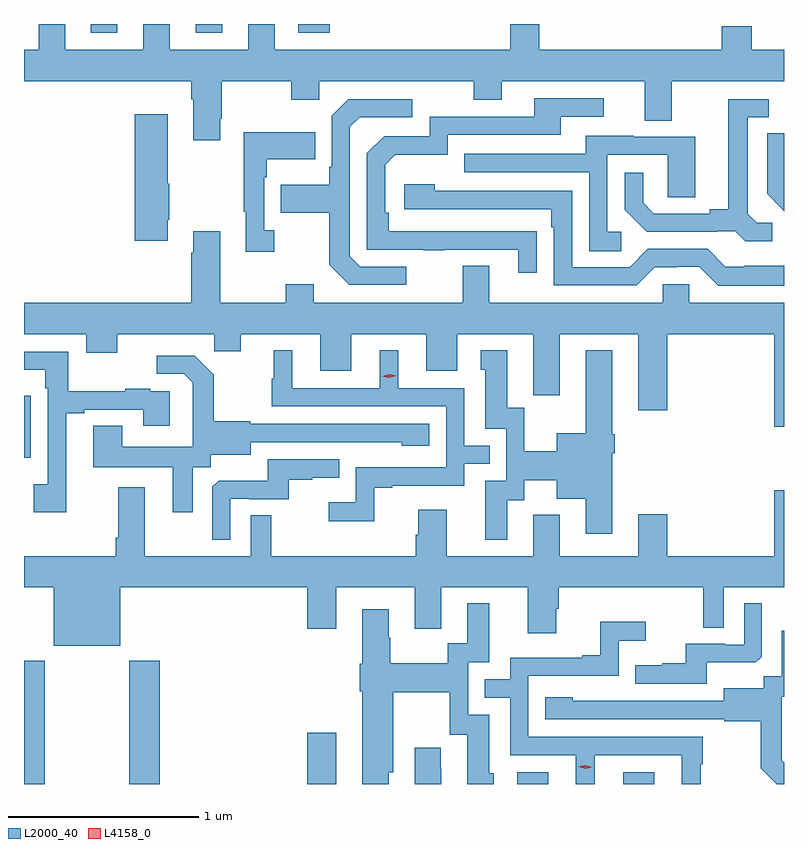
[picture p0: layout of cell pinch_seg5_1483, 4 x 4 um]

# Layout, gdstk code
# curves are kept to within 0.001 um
import gdstk
lib = gdstk.Library(unit=1e-6, precision=1e-09)
def R(c, l, rs):  # rectangles x0, y0, x1, y1
    for r in rs: c.add(gdstk.rectangle(r[:2], r[2:], *l))
def P(c, l, *ps):  # polygons
    for p in ps: c.add(gdstk.Polygon(p, *l))
L2000_40 = (2000, 40)
L4158_0 = (4158, 0)

pinch_seg5_1483 = lib.new_cell('pinch_seg5_1483')
R(pinch_seg5_1483, L2000_40, [(267.991,842.404,268.101,843.052), (268.546,842.404,268.706,843.052), (269.483,842.404,269.635,842.674), (270.587,842.404,270.751,842.467), (271.145,842.404,271.309,842.467), (267.991,844.122,268.026,844.447), (268.343,846.357,268.483,846.404), (268.895,846.357,269.035,846.404), (269.435,846.357,269.6,846.404)])
P(pinch_seg5_1483, L2000_40, [(269.311,846.404),(269.171,846.404),(269.171,846.268),(268.759,846.268),(268.759,846.404),(268.619,846.404),(268.619,846.268),(268.207,846.268),(268.207,846.404),(268.068,846.404),(268.068,846.268),(267.991,846.268),(267.991,846.104),(268.871,846.104),(268.871,846.008),(268.883,846.008),(268.883,845.793),(269.023,845.793),(269.023,845.905),(269.031,845.905),(269.031,846.104),(269.398,846.104),(269.398,846.005),(269.544,846.005),(269.544,846.104),(270.358,846.104),(270.358,846.005),(270.505,846.005),(270.505,846.104),(271.259,846.104),(271.259,845.896),(271.399,845.896),(271.399,846.104),(271.991,846.104),(271.991,846.268),(271.82,846.268),(271.82,846.392),(271.663,846.392),(271.663,846.268),(270.703,846.268),(270.703,846.404),(270.551,846.404),(270.551,846.268),(269.311,846.268)],
  [(270.689,845.312),(269.912,845.313),(269.912,845.41),(269.892,845.41),(269.892,845.664),(269.945,845.717),(270.222,845.717),(270.222,845.82),(270.817,845.82),(270.817,845.916),(271.042,845.916),(271.042,846.012),(270.677,846.012),(270.677,845.916),(270.126,845.916),(270.126,845.814),(269.886,845.814),(269.796,845.724),(269.796,845.217),(270.091,845.217),(270.091,845.212),(270.203,845.212),(270.203,845.217),(270.593,845.217),(270.593,845.094),(270.689,845.094)],
  [(270.004,845.127),(269.76,845.127),(269.706,845.181),(269.706,845.862),(269.757,845.913),(270.034,845.913),(270.034,846.009),(269.697,846.009),(269.61,845.922),(269.61,845.653),(269.598,845.653),(269.598,845.557),(269.341,845.557),(269.341,845.41),(269.598,845.41),(269.598,845.137),(269.703,845.031),(270.004,845.031)],
  [(271.93,845.358),(271.848,845.358),(271.801,845.405),(271.801,845.913),(271.912,845.913),(271.912,846.009),(271.697,846.009),(271.697,845.429),(271.601,845.429),(271.601,845.406),(271.306,845.406),(271.249,845.463),(271.249,845.62),(271.152,845.62),(271.152,845.426),(271.268,845.31),(271.64,845.31),(271.64,845.313),(271.734,845.313),(271.786,845.261),(271.93,845.261)],
  [(268.747,845.374),(268.755,845.374),(268.755,845.563),(268.747,845.563),(268.747,845.929),(268.574,845.929),(268.574,845.262),(268.747,845.262)],
  [(269.308,845.318),(269.256,845.318),(269.256,845.597),(269.269,845.597),(269.269,845.693),(269.525,845.693),(269.525,845.833),(269.148,845.833),(269.148,845.417),(269.159,845.417),(269.159,845.205),(269.308,845.205)],
  [(271.991,845.828),(271.902,845.828),(271.902,845.51),(271.975,845.437),(271.974,845.436),(271.991,845.419)],
  [(271.135,845.31),(271.062,845.31),(271.062,845.715),(271.38,845.715),(271.38,845.491),(271.525,845.491),(271.525,845.811),(271.201,845.811),(271.201,845.815),(270.947,845.815),(270.947,845.721),(270.307,845.721),(270.307,845.625),(270.966,845.625),(270.966,845.209),(271.135,845.209)],
  [(271.991,845.131),(271.783,845.131),(271.783,845.127),(271.683,845.127),(271.59,845.22),(271.275,845.22),(271.179,845.124),(270.876,845.124),(270.876,845.526),(270.152,845.526),(270.152,845.56),(269.991,845.56),(269.991,845.43),(270.767,845.43),(270.767,845.333),(270.78,845.333),(270.78,845.028),(271.215,845.028),(271.311,845.124),(271.43,845.124),(271.43,845.127),(271.545,845.127),(271.645,845.027),(271.991,845.027)],
  [(271.991,844.936),(271.491,844.936),(271.491,845.034),(271.353,845.034),(271.353,844.936),(270.439,844.936),(270.439,845.131),(270.299,845.131),(270.299,844.936),(269.515,844.936),(269.515,845.035),(269.368,845.035),(269.368,844.936),(269.023,844.936),(269.023,845.314),(268.883,845.314),(268.883,845.201),(268.871,845.201),(268.871,844.936),(267.991,844.936),(267.991,844.772),(268.319,844.772),(268.319,844.673),(268.483,844.673),(268.483,844.772),(268.993,844.772),(268.993,844.682),(269.131,844.682),(269.131,844.772),(269.549,844.772),(269.549,844.578),(269.713,844.578),(269.713,844.772),(270.107,844.772),(270.107,844.578),(270.271,844.578),(270.271,844.772),(270.671,844.772),(270.671,844.561),(270.672,844.561),(270.672,844.449),(270.811,844.449),(270.811,844.772),(271.223,844.772),(271.223,844.371),(271.376,844.371),(271.376,844.772),(271.939,844.772),(271.939,844.284),(271.991,844.284)],
  [(269.835,843.963),(269.929,843.963),(269.929,843.975),(270.309,843.975),(270.309,844.089),(270.443,844.089),(270.443,844.185),(270.309,844.185),(270.309,844.488),(269.962,844.488),(269.962,844.687),(269.864,844.687),(269.864,844.488),(269.404,844.488),(269.404,844.687),(269.306,844.687),(269.306,844.536),(269.295,844.536),(269.295,844.392),(270.213,844.392),(270.213,844.071),(269.736,844.071),(269.736,843.886),(269.595,843.886),(269.595,843.788),(269.835,843.788)],
  [(270.535,843.898),(270.625,843.898),(270.625,844.004),(270.794,844.004),(270.794,843.905),(270.947,843.905),(270.947,843.72),(271.087,843.72),(271.087,844.145),(271.1,844.145),(271.1,844.245),(271.087,844.245),(271.087,844.687),(270.947,844.687),(270.947,844.249),(270.794,844.249),(270.794,844.156),(270.624,844.156),(270.624,844.383),(270.535,844.383),(270.535,844.687),(270.395,844.687),(270.395,844.584),(270.419,844.584),(270.419,844.275),(270.528,844.275),(270.528,843.999),(270.419,843.999),(270.419,843.69),(270.535,843.69)],
  [(268.213,844.356),(268.309,844.356),(268.309,844.374),(268.619,844.374),(268.619,844.29),(268.759,844.29),(268.759,844.47),(268.655,844.47),(268.655,844.483),(268.523,844.483),(268.523,844.472),(268.225,844.472),(268.225,844.68),(267.991,844.68),(267.991,844.583),(268.104,844.583),(268.104,844.487),(268.116,844.487),(268.116,843.982),(268.041,843.982),(268.041,843.834),(268.213,843.834)],
  [(268.879,844.072),(268.974,844.072),(268.974,844.136),(269.185,844.136),(269.185,844.203),(269.979,844.202),(269.979,844.184),(270.124,844.184),(270.124,844.299),(269.181,844.299),(269.181,844.312),(268.989,844.312),(268.989,844.557),(268.889,844.657),(268.689,844.657),(268.689,844.563),(268.833,844.563),(268.88,844.516),(268.88,844.421),(268.878,844.421),(268.878,844.18),(268.507,844.18),(268.507,844.289),(268.355,844.289),(268.355,844.07),(268.775,844.07),(268.775,843.834),(268.879,843.834)],
  [(269.076,843.906),(269.176,843.906),(269.176,843.903),(269.384,843.903),(269.384,844.005),(269.507,844.005),(269.507,844.016),(269.651,844.016),(269.651,844.113),(269.274,844.113),(269.274,844.001),(269.015,844.001),(268.983,843.969),(268.983,843.689),(269.076,843.689)],
  [(268.498,843.44),(269.483,843.44),(269.483,843.222),(269.635,843.222),(269.635,843.44),(270.047,843.44),(270.047,843.222),(270.187,843.222),(270.187,843.44),(270.641,843.44),(270.641,843.198),(270.793,843.198),(270.793,843.327),(270.806,843.327),(270.806,843.44),(271.566,843.44),(271.566,843.226),(271.674,843.226),(271.674,843.44),(271.991,843.44),(271.991,843.949),(271.939,843.949),(271.939,843.604),(271.376,843.604),(271.376,843.823),(271.223,843.823),(271.223,843.604),(270.811,843.604),(270.811,843.82),(270.671,843.82),(270.671,843.604),(270.217,843.604),(270.217,843.847),(270.065,843.847),(270.065,843.717),(270.053,843.717),(270.053,843.604),(269.293,843.604),(269.293,843.818),(269.184,843.818),(269.184,843.604),(268.627,843.604),(268.627,843.967),(268.487,843.967),(268.487,843.7),(268.475,843.7),(268.475,843.604),(267.991,843.604),(267.991,843.44),(268.148,843.44),(268.148,843.131),(268.498,843.131)],
  [(269.911,842.466),(269.935,842.466),(269.935,842.888),(270.231,842.888),(270.231,842.663),(270.323,842.663),(270.323,842.404),(270.463,842.404),(270.463,842.46),(270.439,842.46),(270.439,842.769),(270.33,842.769),(270.33,843.045),(270.439,843.045),(270.439,843.355),(270.323,843.355),(270.323,843.146),(270.222,843.146),(270.222,843.04),(269.919,843.04),(269.919,843.174),(269.911,843.174),(269.911,843.325),(269.771,843.325),(269.771,843.036),(269.759,843.036),(269.759,842.892),(269.771,842.892),(269.771,842.404),(269.911,842.404)],
  [(271.585,843.044),(271.843,843.044),(271.875,843.075),(271.875,843.355),(271.782,843.355),(271.782,843.138),(271.682,843.138),(271.682,843.141),(271.475,843.141),(271.475,843.04),(271.351,843.04),(271.351,843.028),(271.207,843.028),(271.207,842.931),(271.585,842.931)],
  [(270.994,842.556),(271.454,842.556),(271.454,842.404),(271.552,842.404),(271.552,842.508),(271.564,842.508),(271.564,842.652),(270.645,842.652),(270.645,842.973),(271.122,842.973),(271.122,843.158),(271.264,843.158),(271.264,843.257),(271.024,843.257),(271.024,843.082),(270.929,843.082),(270.929,843.069),(270.549,843.069),(270.549,842.955),(270.415,842.955),(270.415,842.859),(270.549,842.859),(270.549,842.556),(270.896,842.556),(270.896,842.404),(270.994,842.404)],
  [(271.991,842.515),(271.978,842.528),(271.978,842.623),(271.98,842.623),(271.98,842.864),(271.991,842.864),(271.991,843.211),(271.979,843.211),(271.979,842.972),(271.884,842.972),(271.884,842.908),(271.673,842.908),(271.673,842.841),(270.879,842.842),(270.879,842.86),(270.735,842.86),(270.735,842.745),(271.677,842.745),(271.677,842.733),(271.869,842.733),(271.869,842.487),(271.952,842.404),(271.991,842.404)],
  [(270.187,842.483),(270.185,842.483),(270.185,842.596),(270.047,842.596),(270.047,842.404),(270.187,842.404)])
P(pinch_seg5_1483, L4158_0, [(270.945,842.484),(270.909,842.495),(270.909,842.495),(270.909,842.495),(270.945,842.504),(270.981,842.493),(270.981,842.492),(270.981,842.492)],
  [(269.913,844.541),(269.877,844.55),(269.877,844.55),(269.877,844.55),(269.913,844.561),(269.949,844.552),(269.949,844.552),(269.949,844.552)])

lib.write_gds('pinch_seg5_1483.gds')
